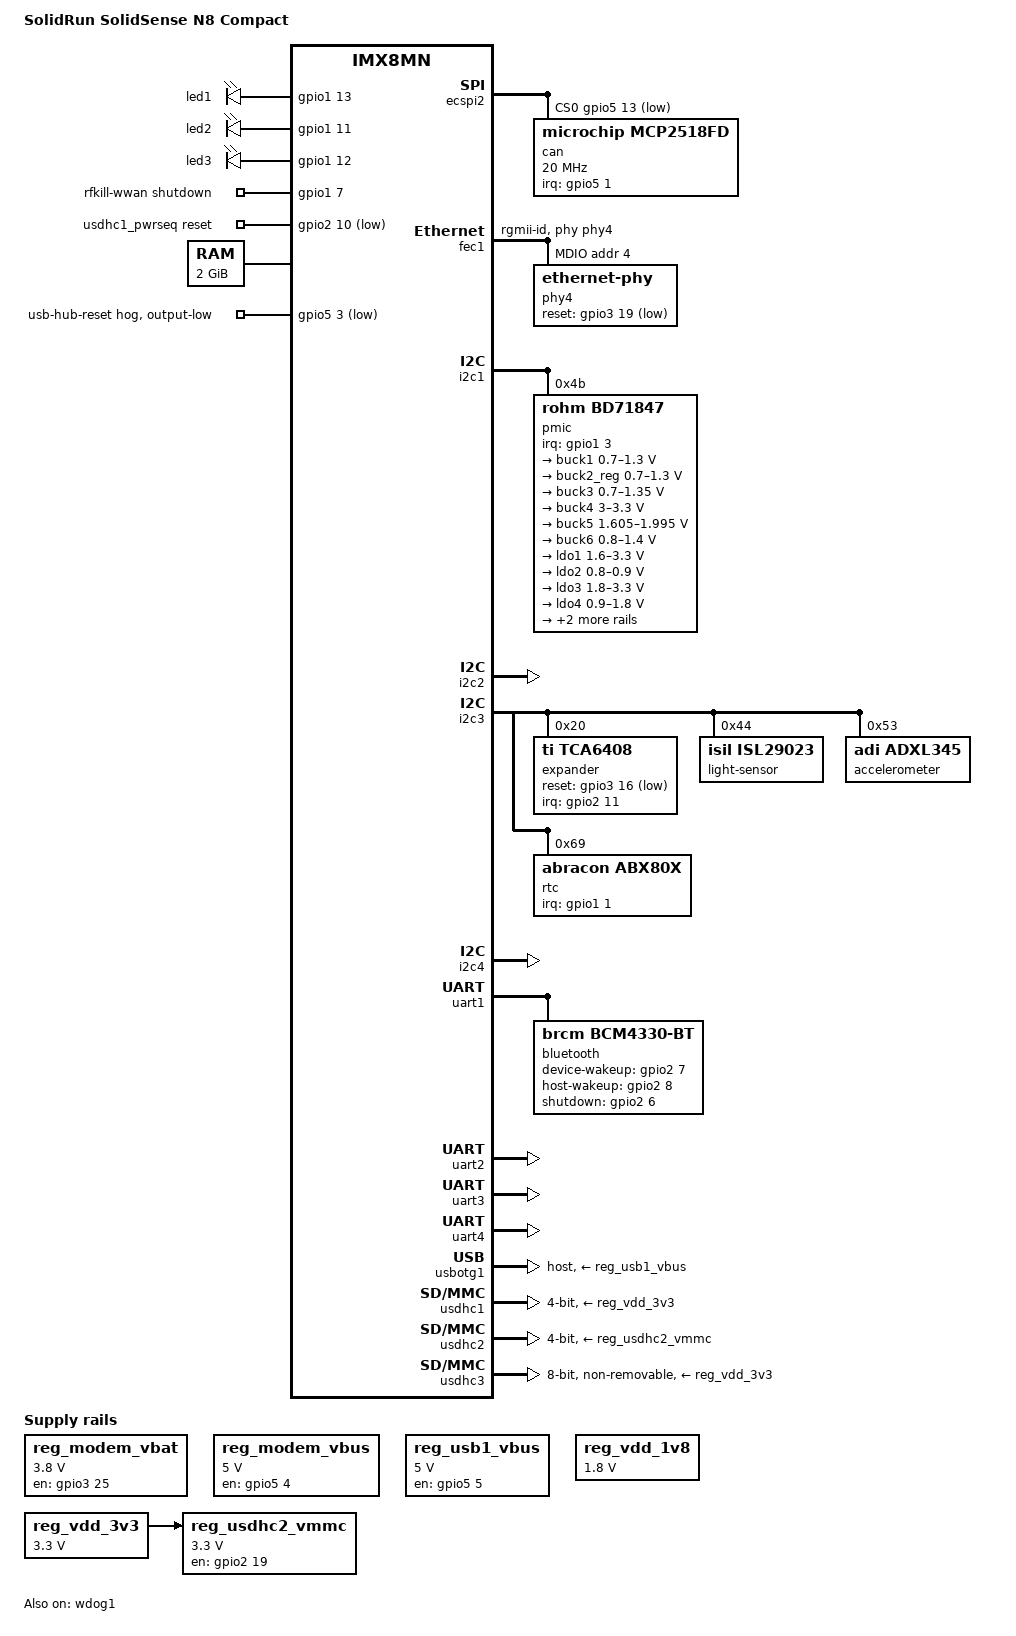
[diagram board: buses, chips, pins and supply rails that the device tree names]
// SPDX-License-Identifier: (GPL-2.0 OR MIT)
/*
 * Device Tree file for SolidSense N8 Compact
 *
 * Copyright 2024 Josua Mayer <josua@solid-run.com>
 */

/dts-v1/;

#include <dt-bindings/leds/common.h>

#include "imx8mn.dtsi"

/ {
	compatible = "solidrun,solidsense-n8-compact", "fsl,imx8mn";
	model = "SolidRun SolidSense N8 Compact";

	/* LED labels based on enclosure, schematic names differ. */
	leds {
		compatible = "gpio-leds";
		pinctrl-0 = <&led_pins>;
		pinctrl-names = "default";

		/* D20 */
		led1 {
			default-state = "off";
			gpios = <&gpio1 13 GPIO_ACTIVE_HIGH>;
			label = "led1";
		};

		/* D18 */
		led2 {
			default-state = "off";
			gpios = <&gpio1 11 GPIO_ACTIVE_HIGH>;
			label = "led2";
		};

		/* D19 */
		led3 {
			default-state = "off";
			gpios = <&gpio1 12 GPIO_ACTIVE_HIGH>;
			label = "led3";
		};
	};

	aliases {
		gpio5 = &expander;
		rtc0 = &rtc;
		rtc1 = &snvs_rtc;
		usb0 = &usbotg1;
		watchdog0 = &wdog1;
		watchdog1 = &rtc;
	};

	chosen {
		stdout-path = &uart2;
	};

	reg_modem_vbat: regulator-modem-vbat {
		compatible = "regulator-fixed";
		regulator-name = "modem-vbat";
		pinctrl-0 = <&regulator_modem_vbat_pins>;
		pinctrl-names = "default";
		regulator-always-on;
		regulator-max-microvolt = <3800000>;
		regulator-min-microvolt = <3800000>;
		gpio = <&gpio3 25 GPIO_ACTIVE_HIGH>;
		enable-active-high;
	};

	/* power to lte modems behind hub ports 2/3 */
	reg_modem_vbus: regulator-modem-vbus {
		compatible = "regulator-fixed";
		regulator-name = "modem-vbus";
		pinctrl-0 = <&regulator_modem_vbus_pins>;
		pinctrl-names = "default";
		regulator-always-on;
		regulator-max-microvolt = <5000000>;
		regulator-min-microvolt = <5000000>;
		gpio = <&gpio5 4 GPIO_ACTIVE_HIGH>;
		enable-active-high;
	};

	/* power to usb hub, and type-a behind hub port 1 */
	reg_usb1_vbus: regulator-usb1-vbus {
		compatible = "regulator-fixed";
		regulator-name = "usb1-vbus";
		pinctrl-0 = <&regulator_usb1_vbus_pins>;
		pinctrl-names = "default";
		regulator-max-microvolt = <5000000>;
		regulator-min-microvolt = <5000000>;
		gpio = <&gpio5 5 GPIO_ACTIVE_HIGH>;
		enable-active-high;
	};

	reg_usdhc2_vmmc: regulator-usdhc2-vmmc {
		compatible = "regulator-fixed";
		regulator-name = "usdhc2-vmmc";
		off-on-delay-us = <250>;
		pinctrl-0 = <&regulator_usdhc2_vmmc_pins>;
		pinctrl-names = "default";
		regulator-max-microvolt = <3300000>;
		regulator-min-microvolt = <3300000>;
		vin-supply = <&reg_vdd_3v3>;
		gpio = <&gpio2 19 GPIO_ACTIVE_HIGH>;
		enable-active-high;
	};

	reg_vdd_1v8: regulator-vdd-1v8 {
		compatible = "regulator-fixed";
		regulator-name = "vdd-1v8";
		regulator-max-microvolt = <1800000>;
		regulator-min-microvolt = <1800000>;
	};

	reg_vdd_3v3: regulator-vdd-3v3 {
		compatible = "regulator-fixed";
		regulator-name = "vdd-3v3";
		regulator-max-microvolt = <3300000>;
		regulator-min-microvolt = <3300000>;
	};

	rfkill {
		compatible = "rfkill-gpio";
		/* rfkill-gpio inverts internally */
		shutdown-gpios = <&gpio1 7 GPIO_ACTIVE_HIGH>;
		label = "rfkill-wwan";
		pinctrl-0 = <&modem_pins>;
		pinctrl-names = "default";
		radio-type = "wwan";
	};

	usdhc1_pwrseq: usdhc1-pwrseq {
		compatible = "mmc-pwrseq-simple";
		reset-gpios = <&gpio2 10 GPIO_ACTIVE_LOW>;
	};

	memory@40000000 {
		reg = <0x0 0x40000000 0 0x80000000>;
		device_type = "memory";
	};
};

&A53_0 {
	cpu-supply = <&buck2_reg>;
};

&A53_1 {
	cpu-supply = <&buck2_reg>;
};

&A53_2 {
	cpu-supply = <&buck2_reg>;
};

&A53_3 {
	cpu-supply = <&buck2_reg>;
};

&ddrc {
	operating-points-v2 = <&ddrc_opp_table>;

	ddrc_opp_table: opp-table {
		compatible = "operating-points-v2";

		opp-266500000 {
			opp-hz = /bits/ 64 <266500000>;
		};

		opp-600000000 {
			opp-hz = /bits/ 64 <600000000>;
		};
	};
};

&ecspi2 {
	/* native chip-select causes reading 0xffffffff */
	cs-gpios = <&gpio5 13 GPIO_ACTIVE_LOW>;
	num-cs = <1>;
	pinctrl-0 = <&ecspi2_pins>;
	pinctrl-names = "default";
	status = "okay";

	can@0 {
		compatible = "microchip,mcp2518fd";
		reg = <0>;
		interrupt-parent = <&gpio5>;
		interrupts = <1 IRQ_TYPE_EDGE_FALLING>;
		clocks = <&clk IMX8MN_CLK_CLKOUT1>;
		/* generate 8MHz clock from soc-internal 24mhz reference */
		assigned-clock-parents = <&clk IMX8MN_CLK_24M>, <0>;
		assigned-clock-rates = <0>, <8000000>;
		assigned-clocks = <&clk IMX8MN_CLK_CLKOUT1_SEL>,
			  <&clk IMX8MN_CLK_CLKOUT1_DIV>;
		pinctrl-0 = <&can_pins>;
		pinctrl-names = "default";
		spi-max-frequency = <20000000>;
	};
};

&fec1 {
	phy-handle = <&phy4>;
	phy-mode = "rgmii-id";
	pinctrl-0 = <&fec1_pins>;
	pinctrl-names = "default";
	status = "okay";

	mdio {
		#address-cells = <1>;
		#size-cells = <0>;

		/*
		 * Depending on board revision two different phys are used:
		 * - v1.1: atheros phy at address 4
		 * - v1.2+: analog devices phy at address 0
		 * Configure first version by default.
		 * On v1.2 and later, U-Boot will enable the correct phy
		 * based on runtime detection and patch dtb accordingly.
		 */

		/* ADIN1300 */
		phy0: ethernet-phy@0 {
			reg = <0>;
			interrupt-parent = <&gpio1>;
			interrupts = <10 IRQ_TYPE_LEVEL_LOW>;
			reset-assert-us = <10>;
			reset-deassert-us = <5000>;
			reset-gpios = <&gpio3 19 GPIO_ACTIVE_LOW>;
			adi,led-polarity = <GPIO_ACTIVE_LOW>;
			adi,link-st-polarity = <GPIO_ACTIVE_LOW>;
			status = "disabled";

			leds {
				#address-cells = <1>;
				#size-cells = <0>;

				led@0 {
					reg = <0>;
					active-low;
					color = <LED_COLOR_ID_YELLOW>;
					default-state = "keep";
					function = LED_FUNCTION_LAN;
				};
			};
		};

		/* AR8035 */
		phy4: ethernet-phy@4 {
			reg = <4>;
			reset-assert-us = <10000>;
			reset-gpios = <&gpio3 19 GPIO_ACTIVE_LOW>;
			status = "okay";
		};
	};
};

&gpio5 {
	usb-hub-reset-hog {
		line-name = "usb-hub-reset";
		gpios = <3 GPIO_ACTIVE_LOW>;
		gpio-hog;
		/* deasserted */
		output-low;
	};
};

&i2c1 {
	pinctrl-0 = <&i2c1_pins>;
	pinctrl-names = "default";
	status = "okay";

	pmic@4b {
		compatible = "rohm,bd71847";
		reg = <0x4b>;
		interrupt-parent = <&gpio1>;
		interrupts = <3 IRQ_TYPE_LEVEL_LOW>;
		clocks = <&osc_32k>;
		#clock-cells = <0>;
		clock-output-names = "clk-32k-out";
		pinctrl-0 = <&pmic_pins>;
		pinctrl-names = "default";
		rohm,reset-snvs-powered;

		regulators {
			BUCK1 {
				regulator-always-on;
				regulator-boot-on;
				regulator-max-microvolt = <1300000>;
				regulator-min-microvolt = <700000>;
				regulator-ramp-delay = <1250>;
				// supplies soc vdd, soc mipi vdd @ 0.9V
				regulator-name = "buck1";
				rohm,dvs-run-voltage = <850000>;
				rohm,dvs-suspend-voltage = <750000>;
			};

			buck2_reg: BUCK2 {
				regulator-name = "buck2";
				regulator-always-on;
				regulator-boot-on;
				regulator-max-microvolt = <1300000>;
				regulator-min-microvolt = <700000>;
				regulator-ramp-delay = <1250>;
				rohm,dvs-idle-voltage = <900000>;
				rohm,dvs-run-voltage = <1000000>;
				rohm,dvs-suspend-voltage = <0>;
			};

			BUCK3 {
				// BUCK5 in datasheet
				// output floating
				regulator-name = "buck3";
				regulator-max-microvolt = <1350000>;
				regulator-min-microvolt = <700000>;
			};

			BUCK4 {
				regulator-always-on;
				regulator-boot-on;
				regulator-max-microvolt = <3300000>;
				regulator-min-microvolt = <3000000>;
				// BUCK6 in datasheet
				// supplies ldo3, ldo5, muxsw
				regulator-name = "buck4";
			};

			BUCK5 {
				regulator-always-on;
				regulator-boot-on;
				regulator-max-microvolt = <1995000>;
				regulator-min-microvolt = <1605000>;
				// BUCK7 in datasheet
				// supplies ldo4, ldo6, muxsw
				// enables dram vpp @ 2.5V
				regulator-name = "buck5";
			};

			BUCK6 {
				// BUCK8 in datasheet
				// supplies dram @ 1.2V
				regulator-name = "buck6";
				regulator-always-on;
				regulator-boot-on;
				regulator-max-microvolt = <1400000>;
				regulator-min-microvolt = <800000>;
			};

			LDO1 {
				// supplies soc snvs @ 1.8V
				regulator-name = "ldo1";
				regulator-always-on;
				regulator-boot-on;
				regulator-max-microvolt = <3300000>;
				regulator-min-microvolt = <1600000>;
			};

			LDO2 {
				// supplies soc snvs @ 0.8V
				regulator-name = "ldo2";
				regulator-always-on;
				regulator-boot-on;
				regulator-max-microvolt = <900000>;
				regulator-min-microvolt = <800000>;
			};

			LDO3 {
				// supplies soc vdd @ 1.8V
				regulator-name = "ldo3";
				regulator-always-on;
				regulator-boot-on;
				regulator-max-microvolt = <3300000>;
				regulator-min-microvolt = <1800000>;
			};

			LDO4 {
				// output floating
				regulator-name = "ldo4";
				regulator-max-microvolt = <1800000>;
				regulator-min-microvolt = <900000>;
			};

			LDO5 {
				// output floating
				regulator-name = "ldo5";
				regulator-max-microvolt = <3300000>;
				regulator-min-microvolt = <800000>;
			};

			LDO6 {
				// supplies soc vdd mipi @ 1.2V
				regulator-name = "ldo6";
				regulator-always-on;
				regulator-boot-on;
				regulator-max-microvolt = <1800000>;
				regulator-min-microvolt = <900000>;
			};
		};
	};
};

&i2c2 {
	/*
	 * routed to various connectors:
	 * - basler camera (CON2)
	 * - touchscreen (J3)
	 * - expansion connector (J14)
	 */
	pinctrl-names = "default";
	pinctrl-0 = <&i2c2_pins>;
	status = "okay";
};

&i2c3 {
	pinctrl-0 = <&i2c3_pins>;
	pinctrl-names = "default";
	status = "okay";

	expander: gpio@20 {
		compatible = "ti,tca6408";
		reg = <0x20>;
		#interrupt-cells = <2>;
		interrupt-controller;
		interrupt-parent = <&gpio2>;
		interrupts = <11 IRQ_TYPE_EDGE_FALLING>;
		#gpio-cells = <2>;
		gpio-controller;
		gpio-line-names = "SYSGD", "PFO#", "CAPGD", "CAPFLT#",
				  "CHGEN#", "BSTEN#", "", "";
		pinctrl-0 = <&gpio_expander_pins>;
		pinctrl-names = "default";
		reset-gpios = <&gpio3 16 GPIO_ACTIVE_LOW>;
	};

	light-sensor@44 {
		compatible = "isil,isl29023";
		reg = <0x44>;
	};

	accelerometer@53 {
		compatible = "adi,adxl345";
		reg = <0x53>;
	};

	/* battery-charger@68 */

	rtc: rtc@69 {
		compatible = "abracon,abx80x";
		reg = <0x69>;
		interrupt-parent = <&gpio1>;
		interrupts = <1 IRQ_TYPE_EDGE_FALLING>;
		pinctrl-0 = <&rtc_pins>;
		pinctrl-names = "default";
		abracon,tc-diode = "schottky";
		abracon,tc-resistor = <3>;
	};
};

&i2c4 {
	/* routed to expansion connector (J14) */
	pinctrl-names = "default";
	pinctrl-0 = <&i2c4_pins>;
	status = "okay";
};

&iomuxc {
	pinctrl-0 = <&tamper_pins>, <&usb_hub_pins>;
	pinctrl-names = "default";

	can_pins: pinctrl-can-grp {
		fsl,pins = <
			MX8MN_IOMUXC_SAI3_TXD_GPIO5_IO1		0x140
		>;
	};

	ecspi2_pins: pinctrl-ecspi2-grp {
		fsl,pins = <
			MX8MN_IOMUXC_ECSPI2_SCLK_ECSPI2_SCLK	0x96
			MX8MN_IOMUXC_ECSPI2_MOSI_ECSPI2_MOSI	0x1d6
			MX8MN_IOMUXC_ECSPI2_MISO_ECSPI2_MISO	0x1d6
			MX8MN_IOMUXC_ECSPI2_SS0_GPIO5_IO13	0x1d6
		>;
	};

	fec1_pins: pinctrl-fec1-grp {
		/*
		 * Some pins are sampled at phy reset to apply configuration:
		 * - AR803x PHY (revision 1.1)
		 *   - RXD[1:0]: phy address bits [1:0]
		 *   - RXD[3:2],RX_CTL: mac interface select bits 3,1,0
		 * - ADIN1300 PHY (revision 1.2 or later)
		 *   - RXD[3:0]: phy address bits [3:0]
		 *   - RX_CTL,RXC: mac interface select bits 1,0
		 * SoC enables pull-down at reset, PHYs have internal
		 * pull-down, so pinmux may unset pull-enable.
		 */
		fsl,pins = <
			MX8MN_IOMUXC_ENET_MDC_ENET1_MDC			0x2
			MX8MN_IOMUXC_ENET_MDIO_ENET1_MDIO		0x2
			MX8MN_IOMUXC_ENET_TD3_ENET1_RGMII_TD3		0x1e
			MX8MN_IOMUXC_ENET_TD2_ENET1_RGMII_TD2		0x1e
			MX8MN_IOMUXC_ENET_TD1_ENET1_RGMII_TD1		0x1e
			MX8MN_IOMUXC_ENET_TD0_ENET1_RGMII_TD0		0x1e
			/* RD[3:0] sampled at phy reset for address bits [3:0] */
			MX8MN_IOMUXC_ENET_RD3_ENET1_RGMII_RD3		0x90
			MX8MN_IOMUXC_ENET_RD2_ENET1_RGMII_RD2		0x90
			MX8MN_IOMUXC_ENET_RD1_ENET1_RGMII_RD1		0x90
			MX8MN_IOMUXC_ENET_RD0_ENET1_RGMII_RD0		0x90
			MX8MN_IOMUXC_ENET_TXC_ENET1_RGMII_TXC		0x10
			MX8MN_IOMUXC_ENET_RXC_ENET1_RGMII_RXC		0x90
			MX8MN_IOMUXC_ENET_RX_CTL_ENET1_RGMII_RX_CTL	0x90
			MX8MN_IOMUXC_ENET_TX_CTL_ENET1_RGMII_TX_CTL	0x10
			/* phy reset */
			MX8MN_IOMUXC_SAI5_RXFS_GPIO3_IO19		0x0
			/* phy interrupt */
			MX8MN_IOMUXC_GPIO1_IO10_GPIO1_IO10		0x140
		>;
	};

	gpio_expander_pins: pinctrl-gpio-expander-grp {
		fsl,pins = <
			MX8MN_IOMUXC_NAND_READY_B_GPIO3_IO16	0x140
			MX8MN_IOMUXC_SD1_STROBE_GPIO2_IO11	0x140
		>;
	};

	i2c1_pins: pinctrl-i2c1-grp {
		fsl,pins = <
			MX8MN_IOMUXC_I2C1_SCL_I2C1_SCL		0x400001c2
			MX8MN_IOMUXC_I2C1_SDA_I2C1_SDA		0x400001c2
		>;
	};

	i2c2_pins: pinctrl-i2c2-grp {
		fsl,pins = <
			MX8MN_IOMUXC_I2C2_SCL_I2C2_SCL		0x400001c2
			MX8MN_IOMUXC_I2C2_SDA_I2C2_SDA		0x400001c2
		>;
	};

	i2c3_pins: pinctrl-i2c3-grp {
		fsl,pins = <
			MX8MN_IOMUXC_I2C3_SCL_I2C3_SCL		0x400001c2
			MX8MN_IOMUXC_I2C3_SDA_I2C3_SDA		0x400001c2
		>;
	};

	i2c4_pins: pinctrl-i2c4-grp {
		fsl,pins = <
			MX8MN_IOMUXC_I2C4_SCL_I2C4_SCL		0x400001c2
			MX8MN_IOMUXC_I2C4_SDA_I2C4_SDA		0x400001c2
		>;
	};

	ieee802151_radio_pins: pinctrl-ieee802151-radio-grp {
		fsl,pins = <
			/* RESETN */
			MX8MN_IOMUXC_GPIO1_IO05_GPIO1_IO5	0x0
			/* VDD_EN */
			MX8MN_IOMUXC_GPIO1_IO06_GPIO1_IO6	0x0
			/* SWDCLK */
			MX8MN_IOMUXC_GPIO1_IO14_GPIO1_IO14	0x0
			/* SDIO */
			MX8MN_IOMUXC_GPIO1_IO15_GPIO1_IO15	0x0
		>;
	};

	led_pins: pinctrl-led-grp {
		fsl,pins = <
			MX8MN_IOMUXC_GPIO1_IO11_GPIO1_IO11	0x100
			MX8MN_IOMUXC_GPIO1_IO12_GPIO1_IO12	0x100
			MX8MN_IOMUXC_GPIO1_IO13_GPIO1_IO13	0x100
		>;
	};

	modem_pins: pinctrl-modem-grp {
		fsl,pins = <
			/* RESET_N: modem-internal pull-down */
			MX8MN_IOMUXC_GPIO1_IO07_GPIO1_IO7	0x0
			/* PWRKEY: pull-down ensures always-on */
			MX8MN_IOMUXC_GPIO1_IO08_GPIO1_IO8	0x100
		>;
	};

	pmic_pins: pinctrl-pmic-grp {
		fsl,pins = <
			MX8MN_IOMUXC_GPIO1_IO03_GPIO1_IO3	0x140
		>;
	};

	regulator_modem_vbat_pins: pinctrl-regulator-modem-vbat-grp {
		fsl,pins = <
			MX8MN_IOMUXC_SAI5_MCLK_GPIO3_IO25	0x0
		>;
	};

	regulator_modem_vbus_pins: pinctrl-regulator-modem-vbus-grp {
		fsl,pins = <
			MX8MN_IOMUXC_SPDIF_RX_GPIO5_IO4		0x0
		>;
	};

	regulator_usb1_vbus_pins: pinctrl-regulator-usb1-vbus-grp {
		fsl,pins = <
			MX8MN_IOMUXC_SPDIF_EXT_CLK_GPIO5_IO5	0x0
		>;
	};

	regulator_usdhc2_vmmc_pins: pinctrl-regulator-usdhc2-vmmc-grp {
		fsl,pins = <
			MX8MN_IOMUXC_SD2_RESET_B_GPIO2_IO19	0x0
		>;
	};

	rtc_pins: pinctrl-rtc-grp {
		fsl,pins = <
			MX8MN_IOMUXC_GPIO1_IO01_GPIO1_IO1	0x140
			MX8MN_IOMUXC_SAI3_RXFS_GPIO4_IO28	0x100
		>;
	};

	tamper_pins: pinctrl-tamper-grp {
		/*
		 * Routed to physical tamper input (J12),
		 * accelerometer and light-sensor interrupts.
		 */
		fsl,pins = <
			MX8MN_IOMUXC_GPIO1_IO09_GPIO1_IO9	0x140
		>;
	};

	uart1_pins: pinctrl-uart1-grp {
		fsl,pins = <
			MX8MN_IOMUXC_UART1_RXD_UART1_DCE_RX	0x140
			MX8MN_IOMUXC_UART1_TXD_UART1_DCE_TX	0x140
			MX8MN_IOMUXC_UART3_RXD_UART1_DCE_CTS_B	0x140
			MX8MN_IOMUXC_UART3_TXD_UART1_DCE_RTS_B	0x140
			/* BT_REG_ON */
			MX8MN_IOMUXC_SD1_DATA4_GPIO2_IO6	0x0
			/* BT_WAKE_DEV */
			MX8MN_IOMUXC_SD1_DATA5_GPIO2_IO7	0x0
			/* BT_WAKE_HOST */
			MX8MN_IOMUXC_SD1_DATA6_GPIO2_IO8	0x100
		>;
	};

	uart2_pins: pinctrl-uart2-grp {
		fsl,pins = <
			MX8MN_IOMUXC_UART2_RXD_UART2_DCE_RX	0x140
			MX8MN_IOMUXC_UART2_TXD_UART2_DCE_TX	0x140
		>;
	};

	uart3_pins: pinctrl-uart3-grp {
		fsl,pins = <
			MX8MN_IOMUXC_ECSPI1_MOSI_UART3_DTE_RX	0x140
			MX8MN_IOMUXC_ECSPI1_SCLK_UART3_DTE_TX	0x140
			MX8MN_IOMUXC_ECSPI1_MISO_UART3_DTE_RTS_B	0x140
			MX8MN_IOMUXC_ECSPI1_SS0_UART3_DTE_CTS_B	0x140
		>;
	};

	uart4_pins: pinctrl-uart4-grp {
		fsl,pins = <
			MX8MN_IOMUXC_UART4_RXD_UART4_DCE_RX	0x140
			MX8MN_IOMUXC_UART4_TXD_UART4_DCE_TX	0x140
		>;
	};

	usb_hub_pins: pinctrl-usb-hub-grp {
		fsl,pins = <
			MX8MN_IOMUXC_SPDIF_TX_GPIO5_IO3		0x0
		>;
	};

	usdhc1_pins: pinctrl-usdhc1-grp {
		fsl,pins = <
			MX8MN_IOMUXC_SD1_CLK_USDHC1_CLK		0x190
			MX8MN_IOMUXC_SD1_CMD_USDHC1_CMD		0x1d0
			MX8MN_IOMUXC_SD1_DATA0_USDHC1_DATA0	0x1d0
			MX8MN_IOMUXC_SD1_DATA1_USDHC1_DATA1	0x1d0
			MX8MN_IOMUXC_SD1_DATA2_USDHC1_DATA2	0x1d0
			MX8MN_IOMUXC_SD1_DATA3_USDHC1_DATA3	0x1d0
			/* wifi refclk */
			MX8MN_IOMUXC_GPIO1_IO00_ANAMIX_REF_CLK_32K	0x0
			/* WL_WAKE_HOST */
			MX8MN_IOMUXC_SD1_DATA7_GPIO2_IO9	0x100
			/* WL_REG_ON */
			MX8MN_IOMUXC_SD1_RESET_B_GPIO2_IO10	0x0
		>;
	};

	usdhc2_100mhz_pins: pinctrl-usdhc2-100mhz-grp {
		fsl,pins = <
			MX8MN_IOMUXC_SD2_CLK_USDHC2_CLK		0x194
			MX8MN_IOMUXC_SD2_CMD_USDHC2_CMD		0x1d4
			MX8MN_IOMUXC_SD2_DATA0_USDHC2_DATA0	0x1d4
			MX8MN_IOMUXC_SD2_DATA1_USDHC2_DATA1	0x1d4
			MX8MN_IOMUXC_SD2_DATA2_USDHC2_DATA2	0x1d4
			MX8MN_IOMUXC_SD2_DATA3_USDHC2_DATA3	0x1d4
			MX8MN_IOMUXC_SD2_CD_B_USDHC2_CD_B	0x0
			/* usdhc2 signalling voltage pmic control */
			MX8MN_IOMUXC_GPIO1_IO04_USDHC2_VSELECT	0x140
		>;
	};

	usdhc2_200mhz_pins: pinctrl-usdhc2-100mhz-grp {
		fsl,pins = <
			MX8MN_IOMUXC_SD2_CLK_USDHC2_CLK		0x196
			MX8MN_IOMUXC_SD2_CMD_USDHC2_CMD		0x1d6
			MX8MN_IOMUXC_SD2_DATA0_USDHC2_DATA0	0x1d6
			MX8MN_IOMUXC_SD2_DATA1_USDHC2_DATA1	0x1d6
			MX8MN_IOMUXC_SD2_DATA2_USDHC2_DATA2	0x1d6
			MX8MN_IOMUXC_SD2_DATA3_USDHC2_DATA3	0x1d6
			MX8MN_IOMUXC_SD2_CD_B_USDHC2_CD_B	0x0
			/* usdhc2 signalling voltage pmic control */
			MX8MN_IOMUXC_GPIO1_IO04_USDHC2_VSELECT	0x140
		>;
	};

	usdhc2_pins: pinctrl-usdhc2-grp {
		fsl,pins = <
			MX8MN_IOMUXC_SD2_CLK_USDHC2_CLK		0x190
			MX8MN_IOMUXC_SD2_CMD_USDHC2_CMD		0x1d0
			MX8MN_IOMUXC_SD2_DATA0_USDHC2_DATA0	0x1d0
			MX8MN_IOMUXC_SD2_DATA1_USDHC2_DATA1	0x1d0
			MX8MN_IOMUXC_SD2_DATA2_USDHC2_DATA2	0x1d0
			MX8MN_IOMUXC_SD2_DATA3_USDHC2_DATA3	0x1d0
			MX8MN_IOMUXC_SD2_CD_B_USDHC2_CD_B	0x0
			/* usdhc2 signalling voltage pmic control */
			MX8MN_IOMUXC_GPIO1_IO04_USDHC2_VSELECT	0x140
		>;
	};

	usdhc3_pins: pinctrl-usdhc3-grp {
		fsl,pins = <
			MX8MN_IOMUXC_NAND_WE_B_USDHC3_CLK	0x190
			MX8MN_IOMUXC_NAND_WP_B_USDHC3_CMD	0x1d0
			MX8MN_IOMUXC_NAND_DATA04_USDHC3_DATA0	0x1d0
			MX8MN_IOMUXC_NAND_DATA05_USDHC3_DATA1	0x1d0
			MX8MN_IOMUXC_NAND_DATA06_USDHC3_DATA2	0x1d0
			MX8MN_IOMUXC_NAND_DATA07_USDHC3_DATA3	0x1d0
			MX8MN_IOMUXC_NAND_RE_B_USDHC3_DATA4	0x1d0
			MX8MN_IOMUXC_NAND_CE2_B_USDHC3_DATA5	0x1d0
			MX8MN_IOMUXC_NAND_CE3_B_USDHC3_DATA6	0x1d0
			MX8MN_IOMUXC_NAND_CLE_USDHC3_DATA7	0x1d0
			MX8MN_IOMUXC_NAND_CE1_B_USDHC3_STROBE	0x190
		>;
	};

	wdog1_pins: pinctrl-wdog1-grp {
		fsl,pins = <
			MX8MN_IOMUXC_GPIO1_IO02_WDOG1_WDOG_B	0x140
		>;
	};
};

/* Bluetooth */
&uart1 {
	assigned-clock-parents = <&clk IMX8MN_SYS_PLL1_80M>;
	/* select 80MHz parent clock to support maximum baudrate 4Mbps */
	assigned-clocks = <&clk IMX8MN_CLK_UART1>;
	pinctrl-0 = <&uart1_pins>;
	pinctrl-names = "default";
	uart-has-rtscts;
	status = "okay";

	bluetooth {
		compatible = "brcm,bcm4330-bt";
		device-wakeup-gpios = <&gpio2 7 GPIO_ACTIVE_HIGH>;
		host-wakeup-gpios = <&gpio2 8 GPIO_ACTIVE_HIGH>;
		max-speed = <3000000>;
		shutdown-gpios = <&gpio2 6 GPIO_ACTIVE_HIGH>;
	};
};

/* console */
&uart2 {
	pinctrl-0 = <&uart2_pins>;
	pinctrl-names = "default";
	status = "okay";
};

/* RS485 */
&uart3 {
	pinctrl-0 = <&uart3_pins>;
	pinctrl-names = "default";
	uart-has-rtscts;
	fsl,dte-mode;
	linux,rs485-enabled-at-boot-time;
	status = "okay";
};

/* 802.15.1 radio */
&uart4 {
	pinctrl-0 = <&uart4_pins &ieee802151_radio_pins>;
	pinctrl-names = "default";
	status = "okay";
};

&usbotg1 {
	disable-over-current;
	dr_mode = "host";
	vbus-supply = <&reg_usb1_vbus>;
	status = "okay";
};

/* WiFi */
&usdhc1 {
	bus-width = <4>;
	mmc-pwrseq = <&usdhc1_pwrseq>;
	pinctrl-0 = <&usdhc1_pins>;
	pinctrl-names = "default";
	vmmc-supply = <&reg_vdd_3v3>;
	vqmmc-supply = <&reg_vdd_1v8>;
	status = "okay";
};

/* microSD */
&usdhc2 {
	broken-cd;
	bus-width = <4>;
	pinctrl-0 = <&usdhc2_pins>;
	pinctrl-1 = <&usdhc2_100mhz_pins>;
	pinctrl-2 = <&usdhc2_200mhz_pins>;
	pinctrl-names = "default", "state_100mhz", "state_200mhz";
	vmmc-supply = <&reg_usdhc2_vmmc>;
	status = "okay";
};

/* eMMC */
&usdhc3 {
	bus-width = <8>;
	non-removable;
	pinctrl-0 = <&usdhc3_pins>;
	vmmc-supply = <&reg_vdd_3v3>;
	vqmmc-supply = <&reg_vdd_1v8>;
	/*
	 * Use lowest drive strength for all high-speed modes to minimise
	 * electro-magnetic emissions.
	 * In this particular design HS-400 still works okay, no extra
	 * pinctrl for 100mhz and 200mhz are required.
	 */
	pinctrl-names = "default";
	status = "okay";
};

&wdog1 {
	pinctrl-0 = <&wdog1_pins>;
	pinctrl-names = "default";
	status = "okay";
};
